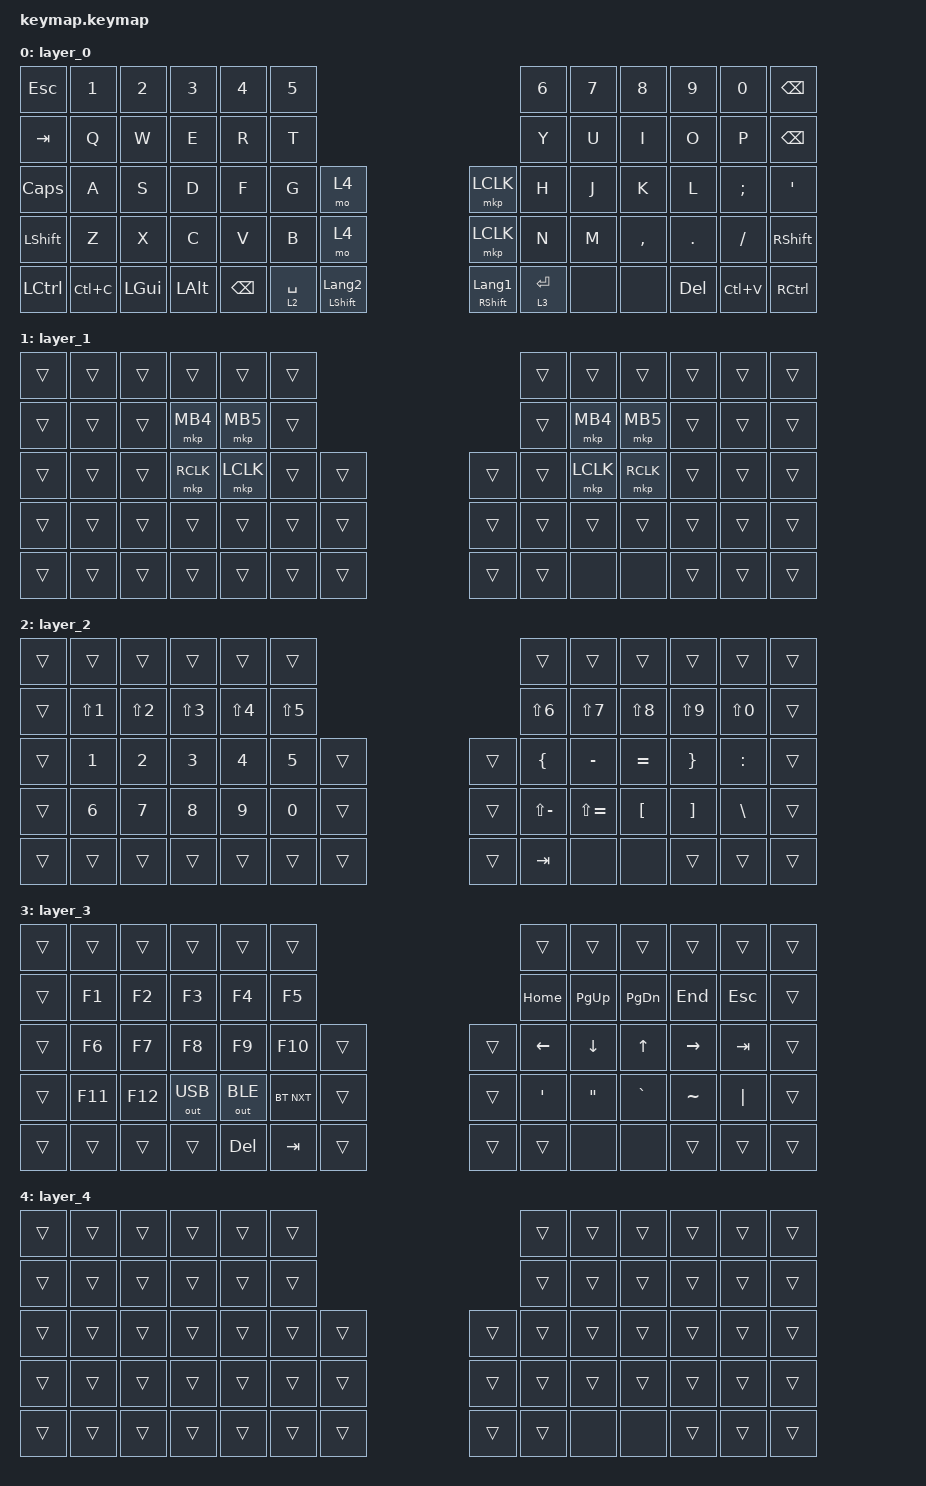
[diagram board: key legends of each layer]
/*
 * torabo-tsuki LP (M) 確定版キーマップ
 * 構成: 左トラボなし / 右トラボ
 *
 * 物理レイアウト前提(超重要・2026-06-18 実機で訂正):
 *   右トラックボールが潰すのは右親指 BkSp・RAlt の【2キーのみ】。
 *   トラボはLの列までは来ない。【RGUI は物理キーが生きている】(Enterの右3つ目,
 *   Del/Ctrlの隣)。右端の RCtrl は2キーとも残存。左親指クラスターは無傷。
 *   → 消滅2キー(BkSp/RAlt)のみ &none。空いていた RGUI 位置は Paste に転用。
 *   (旧版は誤って RGUI も &none = 3キー欠落としていた。実機は2キー欠落)。
 *
 * デフォルトからの確定変更点:
 *   1. オートマウスレイヤー(layer 1)をトラックボール移動で自動発動
 *   2. スクロール層(layer 4)を追加し、ボールをホイール代替に
 *   3. 中央キーを転用【M実機の物理中央キー = 下段(B/Nの段, RC(3,6)/RC(3,13))】
 *        - 中央左 (旧Space) -> &mo 4     (押している間スクロール)
 *        - 中央右 (旧Enter) -> &mkp LCLK (確実な左クリック)
 *      ※ホーム行(G/Hの段)の中央は M に物理キーが無く押せない=触らない。
 *        Space/Enter は親指(lt2/lt3 タップ)に存在するので失わない。
 *   4. require-prior-idle-ms = 350(打鍵直後の振動でAML誤発動を抑制。下の調整メモ参照)
 *   5. 欠落キー(右親指 BkSp / RAlt)を &none に(RGUIは生きてるので除外)
 *   6. 生存した RGUI位置キー -> &kp DEL(消えた右BkSpの消去機能を補完)
 *   7. 右端 RCtrl×2 -> 内=Paste(LC V) / 外=Ctrl(左Copyと左右対称・後述)
 *   8. ワンタッチ・コピペ(2026-06-17 / 2026-06-18 左右対称で確定):
 *        - 左親指の LCtrl×2 のうち外側だけ残す(左Ctrlは1つ確保)
 *        - 左Ctrlの内側(重複LCtrl) -> &kp LC(C) (Copy = Ctrl+C)
 *        - 右Ctrlの内側 -> &kp LC(V) (Paste = Ctrl+V)
 *        => 外=Ctrl / 内=コピペ が左右対称。左親指 BkSp は【死守=残す】。
 *        ★OS注意: LC(C)/LC(V)=Ctrl+C/V。自宅Win/Linuxでは動くが、Macは
 *          コピペがCmd+C/Vのため効かない。Mac利用時は従来どおりCmd手押し。
 *          将来MacもワンタッチにするならOSトグル(Macモード)を別途追加。
 *   9. 戻る/進む(2026-06-17 / 2026-06-18 配置訂正): Layer 1(オートマウス層)の
 *        クリックの【上の段】に左右対称で配置。左 E=戻る(MB4)/R=進む(MB5)、
 *        右 U=戻る(MB4)/I=進む(MB5)。クリック(D/F・J/K)の真上=指の延長で押せる。
 *        MB4/MB5はOS非依存(ブラウザ・ファイラ両対応。一部アプリ非対応)。
 *
 * IME / Shift 方針(2026-06-14 確定):
 *   - IME を標準配置に入れ替え: 左=英数(LANGUAGE_2) / 右=かな(LANGUAGE_1)
 *       (Mac物理JIS標準=スペース左が英数・右がかな に一致)
 *   - IMEキーの mod-tap(タップ=IME / 長押し=Shift)は維持(Shift現状維持方針)
 *   - ホームロウMod は初号機が手に馴染んでから別途検討(今回は導入しない)
 *
 * Shift はどこ? (図に "Shift押下時" 参照を追加・README表も参照):
 *   Shift キーは4箇所。
 *     1. 左下段 外側 LSHFT (Z段の左端)
 *     2. 右下段 外側 RSHFT (/段の右端)
 *     3. 左親指 英数キー長押し (mt LEFT_SHIFT LANGUAGE_2 = タップ英数/長押しShift)
 *     4. 右親指 かなキー長押し (mt RSHIFT LANGUAGE_1 = タップかな/長押しShift)
 *   Shift押下中の出力は OS のキーボード配列に従う。本機は US 配列前提
 *   (記号層 layer 2 が LS(N2)=@ 等 US 刻印で組んであるため)。主な US シフト:
 *     1!  2@  3#  4$  5%  6^  7&  8*  9(  0)   ;:  '"  ,<  .>  /?
 *   英字は Shift で大文字。JIS 配列の OS で使うとシフト記号がズレる点に注意。
 *
 * キーコード注意:
 *   LANGUAGE_1 = かな, LANGUAGE_2 = 英数(Mac。最近のWindowsもLANG1/2でIME ON/OFF可)
 *
 * これは ZMK Studio では適用不可。リポジトリ
 *   sekigon-gonnoc/zmk-keyboard-torabo-tsuki-lp
 * の config/keymap.keymap をこの内容に置き換え、
 * GitHub Actions でビルドした uf2 を書き込むこと。
 */

#include <behaviors.dtsi>
#include <dt-bindings/zmk/bt.h>
#include <dt-bindings/zmk/keys.h>
#include <dt-bindings/zmk/outputs.h>
#include <dt-bindings/zmk/pointing.h>
#include <input/processors.dtsi>
#include <dt-bindings/zmk/input_transform.h>

/* --- オートマウス発動条件の調整 ---
 * 打鍵の振動でボールが微動 -> AML誤発動 -> 次のk/jがクリック化、を防ぐ。
 * require-prior-idle-ms = 直前の打鍵からこの時間内はAMLを出さない(タイピング保護ガード)。
 * 150 は短すぎて打鍵直後の振動で即発動していた -> 350 に延長(2026-06-16 修正)。
 *   ・打鍵中はAMLが出ない(誤クリック消滅)
 *   ・クリックしたいときは指を一瞬止めてからボールを動かせばAMLが出る
 *   ・まだ誤発動するなら 400-500 へ、AMLが出づらすぎるなら 250 へ微調整。 */
&zip_temp_layer {
    require-prior-idle-ms = <350>;
};

/* --- トラックボールのリスナーに input processor を追加 --- */
&pointing_listener {
    /* 動かす -> layer 1(クリック層)を一時有効化、2秒無操作で解除
     * 先頭に zip_xy_transform(X|Y INVERT) を復活 = sekigon board overlay のトラボ向き補正。
     * これを入れないと生センサ向き=上下左右とも反転する(2026-06-16 修正)。
     * 末尾の 800 = AML保持ms。ボール停止後この時間で通常層へ復帰。
     * 2000 は長すぎて「動かした後しばらくk/jがクリックのまま」だったため 800 に短縮(2026-06-16)。 */
    input-processors = <&zip_xy_transform (INPUT_TRANSFORM_X_INVERT | INPUT_TRANSFORM_Y_INVERT) &zip_temp_layer 1 800>;

    /* layer 4 が有効な間はボールをスクロールに変換
     * 注: リスナーが先にX|Y両反転(上のinput-processors)してからここに来る。
     *   縦スクロール(Y)はそれでOKだったが、横スクロール(X=左右)が逆だった。
     *   -> スクロール経路でだけ X をもう一度反転して打ち消す(縦・ポインタ移動に影響なし)。
     *   この zip_xy_transform は zip_xy_to_scroll_mapper の前段に置く(2026-06-16 修正)。
     *   もし縦まで逆になったら X_INVERT を Y_INVERT に替える(=反転の追加/置換セマンティクスが逆だった場合)。 */
    scroller {
        layers = <4>;
        input-processors = <&zip_xy_transform (INPUT_TRANSFORM_X_INVERT) &zip_xy_to_scroll_mapper>;
        process-next;
    };
};

/ {
    combos {
        compatible = "zmk,combos";

        bt_clear {
            bindings = <&bt BT_CLR>;
            key-positions = <28 29>;
            layers = <2>;
        };
    };

    keymap {
        compatible = "zmk,keymap";

        /* ============ Layer 0: ベース ============
         * 中央内側キーを転用:
         *   左内側(旧 Space) -> &mo 4     (スクロール層モメンタリ)
         *   右内側(旧 Enter) -> &mkp LCLK (左クリック)
         * 親指メイン:
         *   左 = lt2/SPACE ・ 英数(mt LSHIFT LANGUAGE_2)
         *   右 = かな(mt RSHIFT LANGUAGE_1) ・ lt3/ENTER
         * 左親指列(外->内): Ctrl ・ Copy(LC C) ・ GUI ・ Alt ・ BkSp ・ lt2/SPACE
         *   ※左Ctrlは1つ残す。左親指BkSpは死守。Copy=左 / Paste=右親指空きキー
         * 右親指(内->外): BkSp/RAlt=トラボ欠落&none / RGUI位置=Del / 右Ctrl内=Paste(LC V) / 外=Ctrl
         *   ※Copy/PasteはWin/Linux用(Macは効かない=上部コメント参照)
         */
        layer_0 {
            bindings = <
&kp ESC    &kp N1     &kp N2    &kp N3    &kp N4    &kp N5                                                          &kp N6       &kp N7    &kp N8     &kp N9    &kp N0                &kp BSPC
&kp TAB    &kp Q      &kp W     &kp E     &kp R     &kp T                                                           &kp Y        &kp U     &kp I      &kp O     &kp P                 &kp BSPC
&kp CAPS   &kp A      &kp S     &kp D     &kp F     &kp G        &mo 4                       &mkp LCLK              &kp H        &kp J     &kp K      &kp L     &kp SEMI              &kp SQT
&kp LSHFT  &kp Z      &kp X     &kp C     &kp V     &kp B        &mo 4                       &mkp LCLK             &kp N        &kp M     &kp COMMA  &kp DOT   &kp FSLH              &kp RSHFT
&kp LCTRL  &kp LC(C)  &kp LGUI  &kp LALT  &kp BSPC   &lt 2 SPACE  &mt LEFT_SHIFT LANGUAGE_2   &mt RSHIFT LANGUAGE_1  &lt 3 ENTER  &none     &none      &kp DEL    &kp LC(V)             &kp RCTRL
            >;
        };

        /* ============ Layer 1: オートマウス(クリック) ============
         * ボール移動で自動発動。クリック: 左 D=右ｸﾘｯｸ/F=左ｸﾘｯｸ、右 J=左ｸﾘｯｸ/K=右ｸﾘｯｸ。
         * 戻る/進むはクリックの【上の段】に左右対称: 左 E=戻る/R=進む、右 U=戻る/I=進む。
         */
        layer_1 {
            bindings = <
&trans  &trans  &trans  &trans     &trans     &trans                  &trans  &trans     &trans     &trans  &trans  &trans
&trans  &trans  &trans  &mkp MB4   &mkp MB5   &trans                  &trans  &mkp MB4   &mkp MB5   &trans  &trans  &trans
&trans  &trans  &trans  &mkp RCLK  &mkp LCLK  &trans  &trans  &trans  &trans  &mkp LCLK  &mkp RCLK  &trans  &trans  &trans
&trans  &trans  &trans  &trans     &trans     &trans  &trans  &trans  &trans  &trans     &trans     &trans  &trans  &trans
&trans  &trans  &trans  &trans     &trans     &trans  &trans  &trans  &trans  &none      &none      &trans  &trans  &trans
            >;
        };

        /* ============ Layer 2: 記号・数字(左親指 SPACE 長押し) ============ */
        layer_2 {
            bindings = <
&trans  &trans            &trans            &trans      &trans      &trans                      &trans          &trans         &trans            &trans             &trans         &trans
&trans  &kp LS(NUMBER_1)  &kp LS(NUMBER_2)  &kp LS(N3)  &kp LS(N4)  &kp LS(N5)                  &kp LS(N6)      &kp LS(N7)     &kp LS(N8)        &kp LS(N9)         &kp LS(N0)     &trans
&trans  &kp N1            &kp N2            &kp N3      &kp N4      &kp N5      &trans  &trans  &kp LEFT_BRACE  &kp MINUS      &kp EQUAL         &kp RIGHT_BRACE    &kp COLON      &trans
&trans  &kp N6            &kp N7            &kp N8      &kp N9      &kp N0      &trans  &trans  &kp LS(MINUS)   &kp LS(EQUAL)  &kp LEFT_BRACKET  &kp RIGHT_BRACKET  &kp BACKSLASH  &trans
&trans  &trans            &trans            &trans      &trans      &trans      &trans  &trans  &kp TAB         &none          &none             &trans             &trans         &trans
            >;
        };

        /* ============ Layer 3: F/矢印/無線(右親指 ENTER 長押し) ============ */
        layer_3 {
            bindings = <
&trans  &trans   &trans   &trans        &trans        &trans                      &trans            &trans     &trans         &trans     &trans      &trans
&trans  &kp F1   &kp F2   &kp F3        &kp F4        &kp F5                      &kp HOME          &kp PG_UP  &kp PAGE_DOWN  &kp END    &kp ESCAPE  &trans
&trans  &kp F6   &kp F7   &kp F8        &kp F9        &kp F10     &trans  &trans  &kp LEFT          &kp DOWN   &kp UP_ARROW   &kp RIGHT  &kp TAB     &trans
&trans  &kp F11  &kp F12  &out OUT_USB  &out OUT_BLE  &bt BT_NXT  &trans  &trans  &kp SINGLE_QUOTE  &kp DQT    &kp GRAVE      &kp TILDE  &kp PIPE    &trans
&trans  &trans   &trans   &trans        &kp DELETE    &kp TAB     &trans  &trans  &trans            &none      &none          &trans     &trans      &trans
            >;
        };

        /* ============ Layer 4: スクロール ============
         * キー自体は透過。ボールの動きが scroller ノードでスクロールに変換される。
         */
        layer_4 {
            bindings = <
&trans  &trans  &trans  &trans  &trans  &trans                  &trans  &trans  &trans  &trans  &trans  &trans
&trans  &trans  &trans  &trans  &trans  &trans                  &trans  &trans  &trans  &trans  &trans  &trans
&trans  &trans  &trans  &trans  &trans  &trans  &trans  &trans  &trans  &trans  &trans  &trans  &trans  &trans
&trans  &trans  &trans  &trans  &trans  &trans  &trans  &trans  &trans  &trans  &trans  &trans  &trans  &trans
&trans  &trans  &trans  &trans  &trans  &trans  &trans  &trans  &trans  &none   &none   &trans  &trans  &trans
            >;
        };
    };
};
